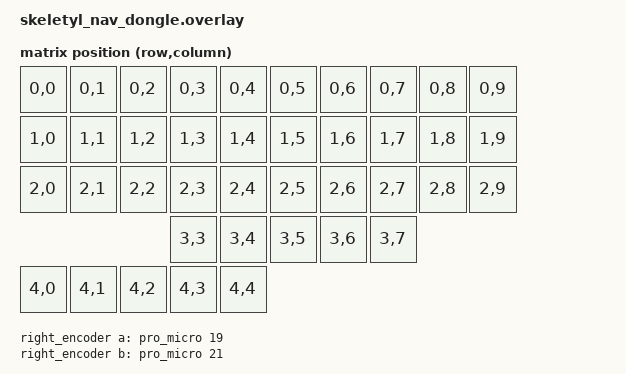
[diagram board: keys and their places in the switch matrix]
#include <dt-bindings/zmk/matrix_transform.h>
#include "skeletyl_nav-layouts.dtsi"
/ {
    chosen {
        zmk,kscan = &mock_kscan;
        zmk,physical-layout = &default_layout;
        zephyr,display = &oled;
    };

    mock_kscan: mock_kscan_0 {
        compatible = "zmk,kscan-mock";
        columns = <0>;
        rows = <0>;
        events = <0>;
    };
    
    right_encoder: encoder_right {
        compatible = "alps,ec11";
        a-gpios = <&pro_micro 19 (GPIO_ACTIVE_HIGH | GPIO_PULL_UP)>;
        b-gpios = <&pro_micro 21 (GPIO_ACTIVE_HIGH | GPIO_PULL_UP)>;
        steps = <96>;
        status = "disabled";
    };

    sensors: sensors {
        compatible = "zmk,keymap-sensors";
        sensors = <&right_encoder>;
        triggers-per-rotation = <24>;
    };
    
    default_transform: default_transform {
        compatible = "zmk,matrix-transform";
        columns = <10>;
        rows = <5>;

        map = <
            RC(0, 0) RC(0, 1) RC(0, 2) RC(0, 3) RC(0, 4)    RC(0, 5) RC(0, 6) RC(0, 7) RC(0, 8) RC(0, 9)
            RC(1, 0) RC(1, 1) RC(1, 2) RC(1, 3) RC(1, 4)    RC(1, 5) RC(1, 6) RC(1, 7) RC(1, 8) RC(1, 9)
            RC(2, 0) RC(2, 1) RC(2, 2) RC(2, 3) RC(2, 4)    RC(2, 5) RC(2, 6) RC(2, 7) RC(2, 8) RC(2, 9)
                                       RC(3, 3) RC(3, 4)    RC(3, 5) RC(3, 6) RC(3, 7)
            RC(4, 0) RC(4, 1) RC(4, 2) RC(4, 3) RC(4, 4)    
        >;
    };
    
};



&pro_micro_i2c {
    status = "okay";
    
    oled: ssd1306@3c {
        compatible = "solomon,ssd1306fb";
        reg = <0x3c>;
        width = <128>;
        height = <64>;
        segment-offset = <0>;
        page-offset = <0>;
        display-offset = <0>;
        multiplex-ratio = <63>;
        segment-remap;
        com-invdir;
        inversion-on;
        prechargep = <0x22>;
    };
};
